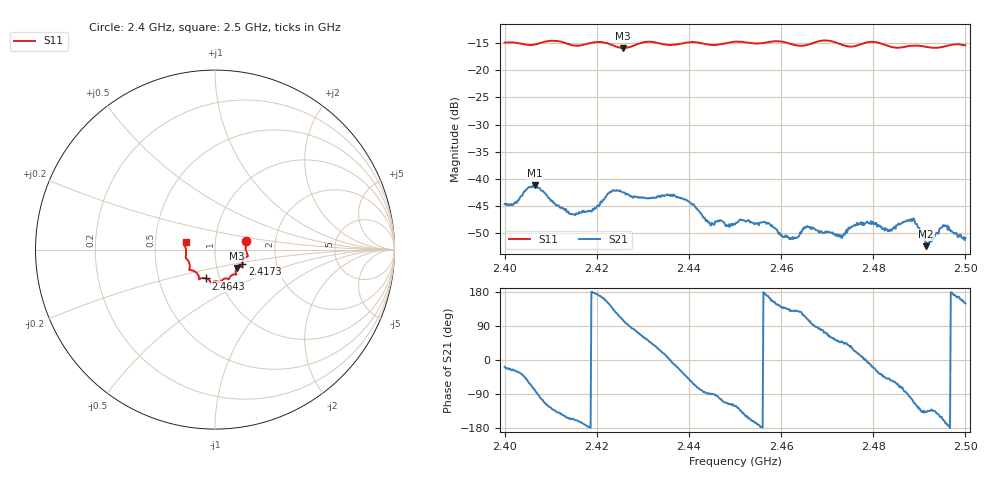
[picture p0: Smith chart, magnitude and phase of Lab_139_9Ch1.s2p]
# Hz S RI R 50
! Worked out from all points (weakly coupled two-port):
!   601 points, 2.4 GHz to 2.5 GHz, reference 50 ohm
!   highest |S21| = -41.21 dB at 2.4065 GHz (marker M1); lowest = -52.4 dB at 2.4915 GHz (marker M2)
!   lowest |S11| = -15.9 dB at 2.4257 GHz (marker M3), VSWR 1.38, Z = 62.5 - j13.1 ohm
!   |S11| at or under -10 dB: start of sweep to end of sweep
!   S12 and S22 are empty: the file has one direction only
!   S11 on the Smith chart (normalised r, x): 2.4 GHz: 1.41, +0.14; 2.4173 GHz: 1.34, -0.23; 2.4643 GHz: 0.86, -0.28; 2.5 GHz: 0.72, +0.06
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2.4e9  0.1729 0.0489  0.00557 -0.00185  0 0  0 0
2.4065e9  0.1724 -0.00408  0.00177 -0.00852  0 0  0 0
2.414e9  0.1663 -0.0473  -0.0043 -0.00207  0 0  0 0
2.416667e9  0.1526 -0.0748  -0.0047 -0.00129  0 0  0 0
2.417333e9  0.1516 -0.0822  -0.00489 -0.000809  0 0  0 0
2.423167e9  0.1443 -0.0941  -0.00589 0.00478  0 0  0 0
2.425667e9  0.1229 -0.1022  -0.00204 0.00722  0 0  0 0
2.433333e9  0.1128 -0.1377  0.00597 0.00337  0 0  0 0
2.439667e9  0.0791 -0.162  0.00423 -0.0046  0 0  0 0
2.445e9  0.0558 -0.1616  6.44e-05 -0.00392  0 0  0 0
2.45e9  0.0289 -0.181  -0.00197 -0.00325  0 0  0 0
2.456833e9  -0.013 -0.1799  -0.00379 0.000618  0 0  0 0
2.462167e9  -0.0309 -0.1717  -0.00176 0.00216  0 0  0 0
2.464333e9  -0.0499 -0.1606  -0.00187 0.00252  0 0  0 0
2.466667e9  -0.0759 -0.1592  -0.000338 0.00342  0 0  0 0
2.472833e9  -0.0906 -0.1487  0.002 0.00212  0 0  0 0
2.477e9  -0.1265 -0.1161  0.00376 0.000964  0 0  0 0
2.483333e9  -0.1407 -0.0898  0.00222 -0.00253  0 0  0 0
2.4885e9  -0.1615 -0.0476  -0.00107 -0.00395  0 0  0 0
2.4915e9  -0.1615 -0.0302  -0.00175 -0.00164  0 0  0 0
2.4955e9  -0.1651 0.0149  -0.00354 -0.00114  0 0  0 0
2.5e9  -0.1638 0.0426  -0.00246 0.00145  0 0  0 0
